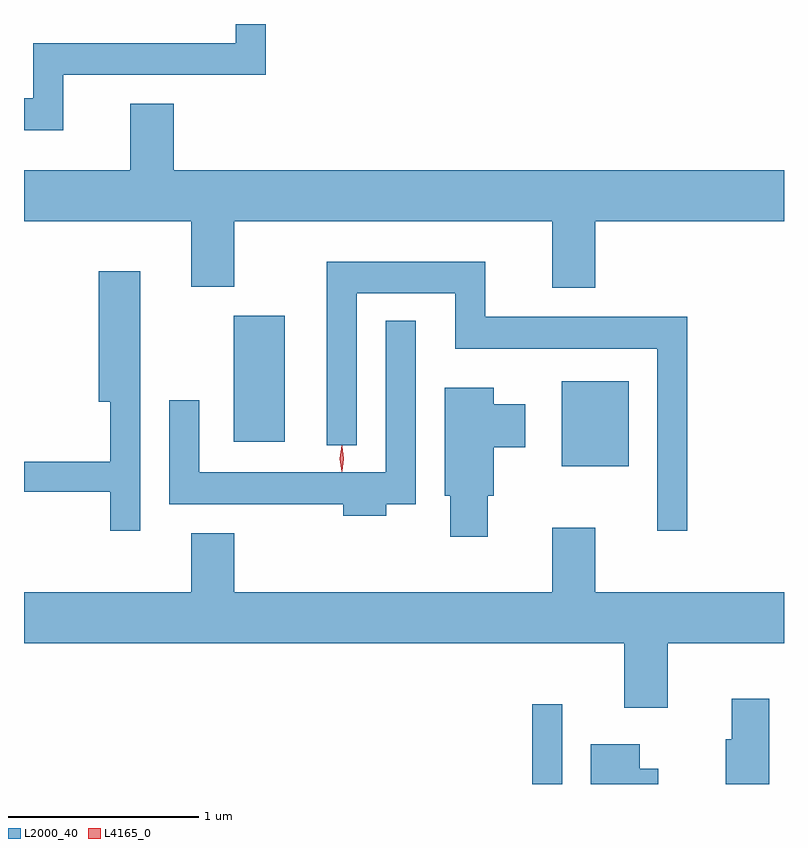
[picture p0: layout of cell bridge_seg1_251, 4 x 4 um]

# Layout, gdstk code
import gdstk
lib = gdstk.Library(unit=1e-6, precision=1e-09)
def R(c, l, rs):  # rectangles x0, y0, x1, y1
    for r in rs: c.add(gdstk.rectangle(r[:2], r[2:], *l))
def P(c, l, *ps):  # polygons
    for p in ps: c.add(gdstk.Polygon(p, *l))
L2000_40 = (2000, 40)
L4165_0 = (4165, 0)

bridge_seg1_251 = lib.new_cell('bridge_seg1_251')
R(bridge_seg1_251, L2000_40, [(962.756,894.394,962.914,894.813), (962.911,896.066,963.264,896.514), (961.186,896.196,961.454,896.859)])
P(bridge_seg1_251, L2000_40, [(960.289,898.126),(961.354,898.126),(961.354,898.394),(961.196,898.394),(961.196,898.294),(960.131,898.294),(960.131,898.004),(960.082,898.004),(960.082,897.836),(960.289,897.836)],
  [(963.089,897.356),(964.082,897.356),(964.082,897.624),(960.869,897.624),(960.869,897.974),(960.641,897.974),(960.641,897.624),(960.082,897.624),(960.082,897.356),(960.961,897.356),(960.961,897.011),(961.189,897.011),(961.189,897.356),(962.861,897.356),(962.861,897.006),(963.089,897.006)],
  [(963.574,896.854),(962.509,896.854),(962.509,897.144),(961.676,897.144),(961.676,896.178),(961.834,896.178),(961.834,896.976),(962.351,896.976),(962.351,896.686),(963.416,896.686),(963.416,895.728),(963.574,895.728)],
  [(960.694,897.094),(960.476,897.094),(960.476,896.406),(960.536,896.406),(960.536,896.089),(960.082,896.089),(960.082,895.931),(960.536,895.931),(960.536,895.728),(960.694,895.728)],
  [(961.989,895.866),(962.144,895.866),(962.144,896.833),(961.986,896.833),(961.986,896.034),(961.004,896.034),(961.004,896.413),(960.846,896.413),(960.846,895.866),(961.761,895.866),(961.761,895.806),(961.989,895.806)],
  [(962.524,895.911),(962.554,895.911),(962.554,896.166),(962.719,896.166),(962.719,896.394),(962.554,896.394),(962.554,896.479),(962.296,896.479),(962.296,895.911),(962.326,895.911),(962.326,895.696),(962.524,895.696)],
  [(963.469,895.136),(964.082,895.136),(964.082,895.404),(963.089,895.404),(963.089,895.744),(962.861,895.744),(962.861,895.404),(961.189,895.404),(961.189,895.714),(960.961,895.714),(960.961,895.404),(960.082,895.404),(960.082,895.136),(963.241,895.136),(963.241,894.796),(963.469,894.796)],
  [(964.004,894.844),(963.806,894.844),(963.806,894.629),(963.776,894.629),(963.776,894.394),(964.004,894.394)],
  [(963.419,894.474),(963.324,894.474),(963.324,894.604),(963.066,894.604),(963.066,894.394),(963.419,894.394)])
P(bridge_seg1_251, L4165_0, [(961.754,896.037),(961.754,896.037),(961.744,896.106),(961.754,896.176),(961.754,896.176),(961.755,896.176),(961.764,896.106),(961.755,896.037)],
  [(961.756,896.039),(961.756,896.04),(961.746,896.106),(961.755,896.172),(961.756,896.173),(961.756,896.172),(961.766,896.106),(961.757,896.04)])

lib.write_gds('bridge_seg1_251.gds')
